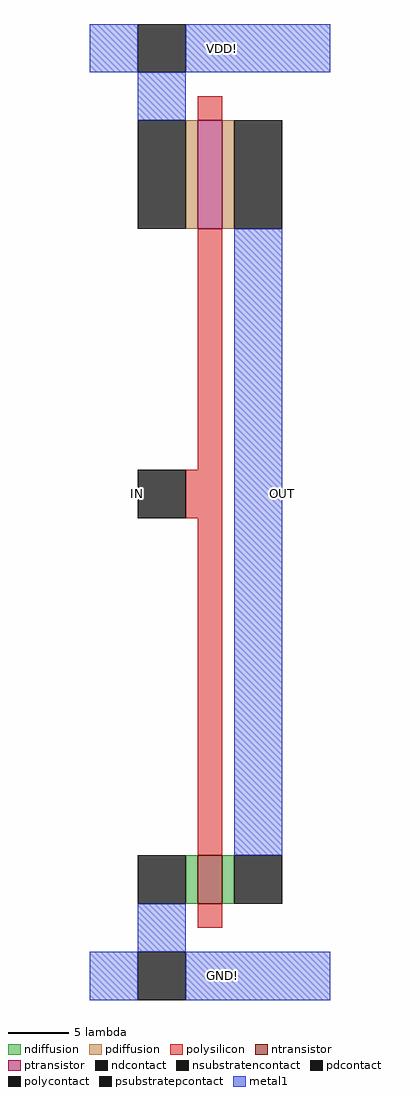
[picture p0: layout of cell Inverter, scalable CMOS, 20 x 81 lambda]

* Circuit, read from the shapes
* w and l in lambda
.subckt Inverter GND! IN OUT VDD!
M1 OUT IN GND! GND! nfet w=4 l=2
M2 OUT IN VDD! VDD! pfet w=9 l=2
.ends

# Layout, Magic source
magic
tech scmos
<< ntransistor >>
rect -3 -17 -1 -13
<< ptransistor >>
rect -3 39 -1 48
<< ndiffusion >>
rect -4 -17 -3 -13
rect -1 -17 0 -13
<< pdiffusion >>
rect -4 39 -3 48
rect -1 39 0 48
<< ndcontact >>
rect -8 -17 -4 -13
rect 0 -17 4 -13
<< pdcontact >>
rect -8 39 -4 48
rect 0 39 4 48
<< psubstratepcontact >>
rect -8 -25 -4 -21
<< nsubstratencontact >>
rect -8 52 -4 56
<< polysilicon >>
rect -3 48 -1 50
rect -3 19 -1 39
rect -4 15 -1 19
rect -3 -13 -1 15
rect -3 -19 -1 -17
<< polycontact >>
rect -8 15 -4 19
<< metal1 >>
rect -12 52 -8 56
rect -4 52 8 56
rect -8 48 -4 52
rect 0 -13 4 39
rect -8 -21 -4 -17
rect -12 -25 -8 -21
rect -4 -25 8 -21
<< labels >>
rlabel metal1 4 15 4 19 7 OUT
rlabel polycontact -8 15 -8 19 3 IN
rlabel metal1 -1 -23 -1 -23 1 GND!
rlabel metal1 -1 54 -1 54 5 VDD!
<< end >>
